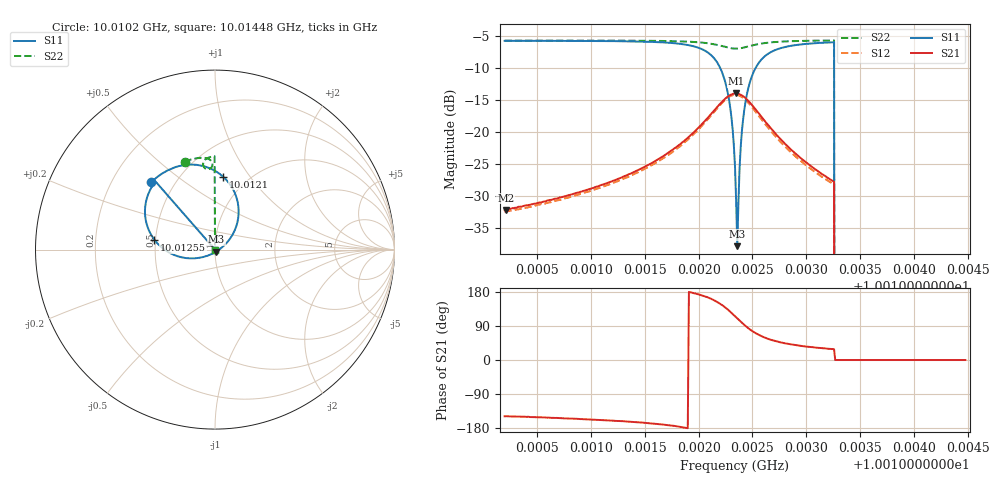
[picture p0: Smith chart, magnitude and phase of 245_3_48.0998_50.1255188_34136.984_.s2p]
#  HZ  S  RI  R  50.00
! Rohde & Schwarz Vector Network Analyzer
! Rohde-Schwarz,ZNB20-2Port,1311601062101988,3.16
! Created: UTC 12/23/2023, 3:59:12 AM
! freq[Hz]  re:S11  im:S11  re:S21  im:S21  re:S12  im:S12  re:S22  im:S22
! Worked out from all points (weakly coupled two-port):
!   401 points, 10.0102 GHz to 10.01448 GHz, reference 50 ohm
!   highest |S21| = -13.95 dB at 10.01235 GHz (marker M1); lowest = -32.2 dB at 10.01021 GHz (marker M2)
!   lowest |S11| = -37.8 dB at 10.01236 GHz (marker M3), VSWR 1.03, Z = 50.7 - j1.11 ohm
!   |S11| at or under -10 dB: 10.0122 GHz to 10.01253 GHz (326.6 kHz wide, 0.00326 % of centre); 10.01326 GHz to end of sweep
!   |S22| runs from - to -5.7 dB; largest |S21 - S12| = 0.0094
!   S11 on the Smith chart (normalised r, x): 10.0102 GHz: 0.37, +0.38; 10.0121 GHz: 0.77, +0.75; 10.01255 GHz: 0.49, +0.06; 10.01448 GHz: 1.00, +0.00
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1.0010199e10  -0.3551 0.3753  -0.0212 -0.013  -0.0196 -0.0136  -0.1698 0.4905
1.001021e10  -0.3545 0.376  -0.021 -0.0129  -0.0197 -0.0136  -0.1689 0.4908
1.0010916e10  -0.2989 0.4207  -0.0314 -0.0141  -0.0294 -0.0152  -0.123 0.5045
1.0011632e10  -0.1891 0.4679  -0.0609 -0.0118  -0.0581 -0.0144  -0.0686 0.5117
1.0012103e10  0.045 0.4064  -0.1292 0.0389  -0.1274 0.0313  -0.0201 0.4921
1.0012199e10  0.1173 0.2973  -0.1419 0.0869  -0.143 0.0779  -0.0142 0.4746
1.0012263e10  0.1291 0.1755  -0.1328 0.1324  -0.1358 0.1238  -0.0183 0.4596
1.0012306e10  0.0978 0.0832  -0.1107 0.1634  -0.1148 0.1555  -0.0268 0.4513
1.0012338e10  0.0495 0.0217  -0.0861 0.1811  -0.0912 0.1736  -0.0355 0.4481
1.0012349e10  0.0286 0.00381  -0.0765 0.1854  -0.0823 0.178  -0.0385 0.4477
1.001236e10  0.00678 -0.011  -0.0669 0.1886  -0.0724 0.1817  -0.0419 0.4476
1.001237e10  -0.0164 -0.0236  -0.0572 0.1909  -0.0623 0.1842  -0.0449 0.4482
1.0012402e10  -0.0912 -0.0463  -0.0276 0.1917  -0.0327 0.1856  -0.0535 0.4515
1.0012434e10  -0.1632 -0.047  -0.000611 0.1849  -0.00536 0.1789  -0.0603 0.4574
1.0012488e10  -0.2632 -0.0119  0.0338 0.1626  0.0271 0.1576  -0.0659 0.4692
1.0012552e10  -0.3374 0.0545  0.0547 0.1318  0.0483 0.1278  -0.0657 0.4827
1.0012723e10  -0.3901 0.2077  0.0622 0.0724  0.0567 0.0712  -0.0505 0.5045
1.0013055e10  -0.357 0.3412  0.0445 0.0299  0.0409 0.0303  -0.019 0.5178
1.0013237e10  -0.334 0.3764  0.0368 0.0203  0.0341 0.021  -0.00385 0.5202
1.001329e10  0 0  0 0  0 0  0 0
1.0013772e10  0 0  0 0  0 0  0 0
1.0014478e10  0 0  0 0  0 0  0 0
